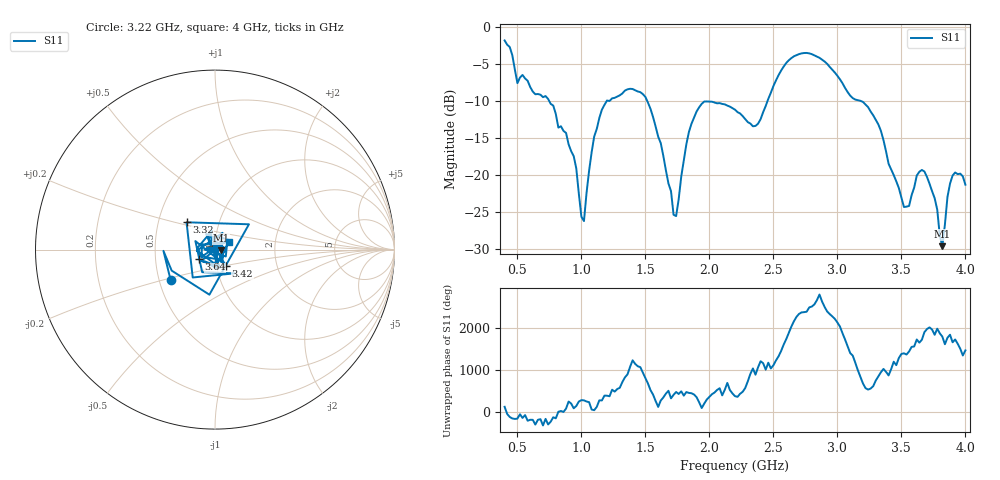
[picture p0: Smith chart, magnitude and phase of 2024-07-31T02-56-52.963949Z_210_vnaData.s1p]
!Created with skrf (http://scikit-rf.org).
# Hz S RI R 50.0
!freq ReS11 ImS11
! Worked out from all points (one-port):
!   181 points, 400 MHz to 4 GHz, reference 50 ohm
!   lowest |S11| = -29.6 dB at 3.82 GHz (marker M1), VSWR 1.07, Z = 53.4 - j0.445 ohm
!   |S11| at or under -10 dB: 748.3 MHz to 1.198 GHz (449.5 MHz wide, 46.2 % of centre); 1.514 GHz to 2.454 GHz (939.7 MHz wide, 47.4 % of centre); 3.183 GHz to end of sweep
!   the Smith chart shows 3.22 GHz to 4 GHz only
!   S11 on the Smith chart (normalised r, x): 3.22 GHz: 0.57, -0.21; 3.32 GHz: 0.70, +0.22; 3.42 GHz: 1.11, -0.20; 3.64 GHz: 0.83, -0.09; 4 GHz: 1.16, +0.09
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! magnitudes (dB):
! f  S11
! 400 MHz  -1.8
! 500 MHz  -7.6
! 860 MHz  -14.0
! 940 MHz  -17.4
! 1.02 GHz  -26.2
! 1.08 GHz  -16.9
! 1.14 GHz  -12.3
! 1.3 GHz  -9.2
! 1.5 GHz  -9.4
! 1.62 GHz  -15.7
! 1.72 GHz  -25.3
! 1.76 GHz  -23.3
! 1.84 GHz  -14.2
! 1.92 GHz  -10.8
! 2.2 GHz  -11.2
! 2.38 GHz  -13.1
! 2.66 GHz  -4.0
! 2.86 GHz  -4.2
! 3.1 GHz  -9.3
! 3.22 GHz  -10.5
! 3.32 GHz  -13.2
! 3.42 GHz  -19.2
! 3.56 GHz  -24.2
! 3.64 GHz  -19.5
! 3.76 GHz  -23.1
! 3.82 GHz  -29.6
! 3.9 GHz  -20.1
! 4 GHz  -21.3
